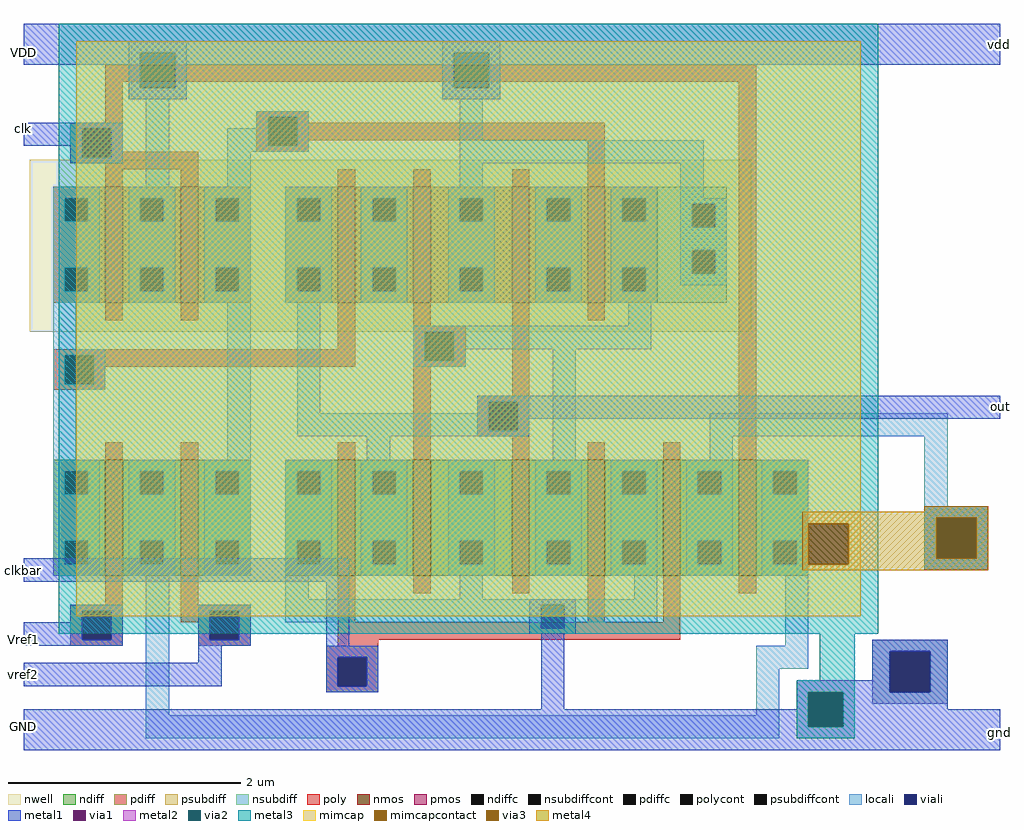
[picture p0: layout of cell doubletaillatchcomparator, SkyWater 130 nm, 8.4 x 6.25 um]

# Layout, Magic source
magic
tech sky130A
<< nwell >>
rect -265 250 356 398
<< nmos >>
rect -200 40 -185 140
rect -135 40 -120 140
rect 0 40 15 140
rect 65 40 80 140
rect 150 40 165 140
rect 215 40 230 140
rect 280 40 295 140
rect 345 40 360 140
<< pmos >>
rect -200 275 -185 375
rect -135 275 -120 375
rect 0 275 15 375
rect 65 275 80 375
rect 150 275 165 375
rect 215 275 230 375
<< ndiff >>
rect -245 130 -200 140
rect -245 110 -235 130
rect -215 110 -200 130
rect -245 70 -200 110
rect -245 50 -235 70
rect -215 50 -200 70
rect -245 40 -200 50
rect -185 130 -135 140
rect -185 110 -170 130
rect -150 110 -135 130
rect -185 70 -135 110
rect -185 50 -170 70
rect -150 50 -135 70
rect -185 40 -135 50
rect -120 130 -75 140
rect -120 110 -105 130
rect -85 110 -75 130
rect -120 70 -75 110
rect -120 50 -105 70
rect -85 50 -75 70
rect -120 40 -75 50
rect -45 130 0 140
rect -45 110 -35 130
rect -15 110 0 130
rect -45 70 0 110
rect -45 50 -35 70
rect -15 50 0 70
rect -45 40 0 50
rect 15 130 65 140
rect 15 110 30 130
rect 50 110 65 130
rect 15 70 65 110
rect 15 50 30 70
rect 50 50 65 70
rect 15 40 65 50
rect 80 130 150 140
rect 80 110 105 130
rect 125 110 150 130
rect 80 70 150 110
rect 80 50 105 70
rect 125 50 150 70
rect 80 40 150 50
rect 165 130 215 140
rect 165 110 180 130
rect 200 110 215 130
rect 165 70 215 110
rect 165 50 180 70
rect 200 50 215 70
rect 165 40 215 50
rect 230 130 280 140
rect 230 110 245 130
rect 265 110 280 130
rect 230 70 280 110
rect 230 50 245 70
rect 265 50 280 70
rect 230 40 280 50
rect 295 130 345 140
rect 295 110 310 130
rect 330 110 345 130
rect 295 70 345 110
rect 295 50 310 70
rect 330 50 345 70
rect 295 40 345 50
rect 360 130 405 140
rect 360 110 375 130
rect 395 110 405 130
rect 360 70 405 110
rect 360 50 375 70
rect 395 50 405 70
rect 360 40 405 50
<< pdiff >>
rect -245 365 -200 375
rect -245 345 -235 365
rect -215 345 -200 365
rect -245 305 -200 345
rect -245 285 -235 305
rect -215 285 -200 305
rect -245 275 -200 285
rect -185 365 -135 375
rect -185 345 -170 365
rect -150 345 -135 365
rect -185 305 -135 345
rect -185 285 -170 305
rect -150 285 -135 305
rect -185 275 -135 285
rect -120 365 -75 375
rect -120 345 -105 365
rect -85 345 -75 365
rect -120 305 -75 345
rect -120 285 -105 305
rect -85 285 -75 305
rect -120 275 -75 285
rect -45 365 0 375
rect -45 345 -35 365
rect -15 345 0 365
rect -45 305 0 345
rect -45 285 -35 305
rect -15 285 0 305
rect -45 275 0 285
rect 15 365 65 375
rect 15 345 30 365
rect 50 345 65 365
rect 15 305 65 345
rect 15 285 30 305
rect 50 285 65 305
rect 15 275 65 285
rect 80 365 150 375
rect 80 345 105 365
rect 125 345 150 365
rect 80 305 150 345
rect 80 285 105 305
rect 125 285 150 305
rect 80 275 150 285
rect 165 365 215 375
rect 165 345 180 365
rect 200 345 215 365
rect 165 305 215 345
rect 165 285 180 305
rect 200 285 215 305
rect 165 275 215 285
rect 230 365 275 375
rect 230 345 245 365
rect 265 345 275 365
rect 230 305 275 345
rect 230 285 245 305
rect 265 285 275 305
rect 230 275 275 285
<< ndiffc >>
rect -235 110 -215 130
rect -235 50 -215 70
rect -170 110 -150 130
rect -170 50 -150 70
rect -105 110 -85 130
rect -105 50 -85 70
rect -35 110 -15 130
rect -35 50 -15 70
rect 30 110 50 130
rect 30 50 50 70
rect 105 110 125 130
rect 105 50 125 70
rect 180 110 200 130
rect 180 50 200 70
rect 245 110 265 130
rect 245 50 265 70
rect 310 110 330 130
rect 310 50 330 70
rect 375 110 395 130
rect 375 50 395 70
<< pdiffc >>
rect -235 345 -215 365
rect -235 285 -215 305
rect -170 345 -150 365
rect -170 285 -150 305
rect -105 345 -85 365
rect -105 285 -85 305
rect -35 345 -15 365
rect -35 285 -15 305
rect 30 345 50 365
rect 30 285 50 305
rect 105 345 125 365
rect 105 285 125 305
rect 180 345 200 365
rect 180 285 200 305
rect 245 345 265 365
rect 245 285 265 305
<< psubdiff >>
rect 460 -25 525 -15
rect 460 -60 475 -25
rect 510 -60 525 -25
rect 460 -70 525 -60
<< nsubdiff >>
rect 275 360 335 375
rect 275 340 305 360
rect 325 340 335 360
rect 275 320 335 340
rect 275 300 305 320
rect 325 300 335 320
rect 275 275 335 300
<< psubdiffcont >>
rect 475 -60 510 -25
<< nsubdiffcont >>
rect 305 340 325 360
rect 305 300 325 320
<< poly >>
rect -200 465 360 480
rect -200 430 -185 465
rect -230 425 -185 430
rect -230 400 -220 425
rect -195 405 -185 425
rect -70 435 -25 440
rect -70 410 -60 435
rect -35 430 -25 435
rect -35 415 230 430
rect -35 410 -25 415
rect -70 405 -25 410
rect -195 400 -120 405
rect -230 395 -120 400
rect -200 390 -120 395
rect -200 375 -185 390
rect -135 375 -120 390
rect 0 375 15 390
rect 65 375 80 390
rect 150 375 165 390
rect 215 375 230 415
rect -200 260 -185 275
rect -135 260 -120 275
rect 0 235 15 275
rect -245 230 15 235
rect -245 205 -235 230
rect -210 220 15 230
rect 65 255 80 275
rect 65 250 110 255
rect 65 225 75 250
rect 100 225 110 250
rect 65 220 110 225
rect -210 205 -200 220
rect -245 200 -200 205
rect -200 140 -185 155
rect -135 140 -120 155
rect 0 140 15 155
rect 65 140 80 220
rect 150 195 165 275
rect 215 260 230 275
rect 120 190 165 195
rect 120 165 130 190
rect 155 165 165 190
rect 120 160 165 165
rect 150 140 165 160
rect 215 140 230 155
rect 280 140 295 155
rect 345 140 360 465
rect -200 15 -185 40
rect -230 10 -185 15
rect -230 -15 -220 10
rect -195 -15 -185 10
rect -135 15 -120 40
rect -135 10 -75 15
rect -135 0 -110 10
rect -230 -20 -185 -15
rect -120 -15 -110 0
rect -85 -15 -75 10
rect -120 -20 -75 -15
rect 0 0 15 40
rect 65 25 80 40
rect 150 25 165 40
rect 215 0 230 40
rect 280 0 295 40
rect 345 25 360 40
rect 0 -15 295 0
rect 0 -20 35 -15
rect -10 -30 35 -20
rect -10 -55 0 -30
rect 25 -55 35 -30
rect -10 -60 35 -55
<< polycont >>
rect -220 400 -195 425
rect -60 410 -35 435
rect -235 205 -210 230
rect 75 225 100 250
rect 130 165 155 190
rect -220 -15 -195 10
rect -110 -15 -85 10
rect 0 -55 25 -30
<< locali >>
rect -180 490 -130 500
rect -180 460 -170 490
rect -140 460 -130 490
rect -180 450 -130 460
rect 90 490 140 500
rect 90 460 100 490
rect 130 460 140 490
rect 90 450 140 460
rect -230 425 -185 430
rect -230 400 -220 425
rect -195 400 -185 425
rect -230 395 -185 400
rect -165 375 -145 450
rect -70 435 -25 440
rect -70 425 -60 435
rect -95 410 -60 425
rect -35 410 -25 435
rect -95 405 -25 410
rect 105 415 125 450
rect -95 375 -75 405
rect 105 395 315 415
rect 105 375 125 395
rect -245 365 -205 375
rect -245 345 -235 365
rect -215 345 -205 365
rect -245 305 -205 345
rect -245 285 -235 305
rect -215 285 -205 305
rect -245 275 -205 285
rect -180 365 -140 375
rect -180 345 -170 365
rect -150 345 -140 365
rect -180 305 -140 345
rect -180 285 -170 305
rect -150 285 -140 305
rect -180 275 -140 285
rect -115 365 -75 375
rect -115 345 -105 365
rect -85 345 -75 365
rect -115 305 -75 345
rect -115 285 -105 305
rect -85 285 -75 305
rect -115 275 -75 285
rect -45 365 -5 375
rect -45 345 -35 365
rect -15 345 -5 365
rect -45 305 -5 345
rect -45 285 -35 305
rect -15 285 -5 305
rect -45 275 -5 285
rect 20 365 60 375
rect 20 345 30 365
rect 50 345 60 365
rect 20 305 60 345
rect 20 285 30 305
rect 50 285 60 305
rect 20 275 60 285
rect 95 365 135 375
rect 95 345 105 365
rect 125 345 135 365
rect 95 305 135 345
rect 95 285 105 305
rect 125 285 135 305
rect 95 275 135 285
rect 170 365 210 375
rect 170 345 180 365
rect 200 345 210 365
rect 170 305 210 345
rect 170 285 180 305
rect 200 285 210 305
rect 170 275 210 285
rect 235 365 275 375
rect 235 345 245 365
rect 265 345 275 365
rect 235 305 275 345
rect 235 285 245 305
rect 265 285 275 305
rect 295 365 315 395
rect 295 360 335 365
rect 295 340 305 360
rect 325 340 335 360
rect 295 320 335 340
rect 295 300 305 320
rect 325 300 335 320
rect 295 290 335 300
rect 235 275 275 285
rect -245 235 -225 275
rect -245 230 -200 235
rect -245 205 -235 230
rect -210 205 -200 230
rect -245 200 -200 205
rect -245 140 -225 200
rect -95 140 -75 275
rect -35 180 -15 275
rect 250 255 270 275
rect 65 250 270 255
rect 65 225 75 250
rect 100 235 270 250
rect 100 225 110 235
rect 65 220 110 225
rect 120 190 165 195
rect 120 180 130 190
rect -35 165 130 180
rect 155 165 165 190
rect -35 160 165 165
rect 25 140 45 160
rect 185 140 205 235
rect 320 160 525 180
rect 320 140 340 160
rect -245 130 -205 140
rect -245 110 -235 130
rect -215 110 -205 130
rect -245 70 -205 110
rect -245 50 -235 70
rect -215 50 -205 70
rect -245 40 -205 50
rect -180 130 -140 140
rect -180 110 -170 130
rect -150 110 -140 130
rect -180 70 -140 110
rect -180 50 -170 70
rect -150 50 -140 70
rect -180 40 -140 50
rect -115 130 -75 140
rect -115 110 -105 130
rect -85 110 -75 130
rect -115 70 -75 110
rect -115 50 -105 70
rect -85 50 -75 70
rect -115 40 -75 50
rect -45 130 -5 140
rect -45 110 -35 130
rect -15 110 -5 130
rect -45 70 -5 110
rect -45 50 -35 70
rect -15 50 -5 70
rect -45 40 -5 50
rect 20 130 60 140
rect 20 110 30 130
rect 50 110 60 130
rect 20 70 60 110
rect 20 50 30 70
rect 50 50 60 70
rect 20 40 60 50
rect 95 130 135 140
rect 95 110 105 130
rect 125 110 135 130
rect 95 70 135 110
rect 95 50 105 70
rect 125 50 135 70
rect 95 40 135 50
rect 170 130 210 140
rect 170 110 180 130
rect 200 110 210 130
rect 170 70 210 110
rect 170 50 180 70
rect 200 50 210 70
rect 170 40 210 50
rect 235 130 275 140
rect 235 110 245 130
rect 265 110 275 130
rect 235 70 275 110
rect 235 50 245 70
rect 265 50 275 70
rect 235 40 275 50
rect 300 130 340 140
rect 300 110 310 130
rect 330 110 340 130
rect 300 70 340 110
rect 300 50 310 70
rect 330 50 340 70
rect 300 40 340 50
rect 365 130 405 140
rect 365 110 375 130
rect 395 110 405 130
rect 365 70 405 110
rect 365 50 375 70
rect 395 50 405 70
rect 365 40 405 50
rect 505 100 525 160
rect 505 90 560 100
rect 505 55 515 90
rect 550 55 560 90
rect 505 45 560 55
rect -230 10 -185 15
rect -230 -15 -220 10
rect -195 -15 -185 10
rect -230 -20 -185 -15
rect -165 -80 -145 40
rect -45 20 -25 40
rect 105 20 125 40
rect 255 20 275 40
rect -45 15 275 20
rect -120 10 -75 15
rect -120 -15 -110 10
rect -85 -15 -75 10
rect -45 0 175 15
rect 165 -5 175 0
rect 195 0 275 15
rect 195 -5 205 0
rect 165 -10 205 -5
rect -120 -20 -75 -15
rect 385 -20 405 40
rect -10 -30 35 -20
rect -10 -55 0 -30
rect 25 -55 35 -30
rect -10 -60 35 -55
rect 360 -40 405 -20
rect 460 -25 525 -15
rect 360 -80 380 -40
rect 460 -60 475 -25
rect 510 -60 525 -25
rect -165 -100 380 -80
rect 460 -70 525 -60
<< viali >>
rect -170 460 -140 490
rect 100 460 130 490
rect -220 400 -195 425
rect 130 165 155 190
rect 515 55 550 90
rect -220 -15 -195 10
rect -110 -15 -85 10
rect 175 -5 195 15
rect 0 -55 25 -30
rect 475 -60 510 -25
rect 405 -90 435 -60
<< metal1 >>
rect -270 490 570 515
rect -270 480 -170 490
rect -180 460 -170 480
rect -140 480 100 490
rect -140 460 -130 480
rect -180 450 -130 460
rect 90 460 100 480
rect 130 480 570 490
rect 130 460 140 480
rect 90 450 140 460
rect -270 425 -185 430
rect -270 410 -220 425
rect -230 400 -220 410
rect -195 400 -185 425
rect -230 395 -185 400
rect 120 190 570 195
rect 120 165 130 190
rect 155 175 570 190
rect 155 165 165 175
rect 120 160 165 165
rect 505 90 560 100
rect 505 55 515 90
rect 550 55 560 90
rect -270 35 10 55
rect 505 45 560 55
rect -230 10 -185 15
rect -230 0 -220 10
rect -270 -15 -220 0
rect -195 -15 -185 10
rect -270 -20 -185 -15
rect -120 10 -75 15
rect -120 -15 -110 10
rect -85 -15 -75 10
rect -120 -20 -75 -15
rect -10 -20 10 35
rect 165 15 205 20
rect 165 -5 175 15
rect 195 -5 205 15
rect 165 -10 205 -5
rect -120 -35 -100 -20
rect -270 -55 -100 -35
rect -10 -30 35 -20
rect -10 -55 0 -30
rect 25 -55 35 -30
rect -10 -60 35 -55
rect 175 -75 195 -10
rect 460 -25 525 -15
rect 460 -50 475 -25
rect 395 -60 475 -50
rect 510 -60 525 -25
rect 395 -75 405 -60
rect -270 -90 405 -75
rect 435 -75 525 -60
rect 435 -90 570 -75
rect -270 -110 570 -90
<< via1 >>
rect 515 55 550 90
rect 405 -90 435 -60
<< metal2 >>
rect 505 90 560 100
rect 505 55 515 90
rect 550 55 560 90
rect 505 45 560 55
rect 395 -60 445 -50
rect 395 -90 405 -60
rect 435 -90 445 -60
rect 395 -100 445 -90
<< via2 >>
rect 515 55 550 90
rect 405 -90 435 -60
<< metal3 >>
rect -240 -10 465 515
rect 505 90 560 100
rect 505 55 515 90
rect 550 55 560 90
rect 505 45 560 55
rect 415 -50 445 -10
rect 395 -60 445 -50
rect 395 -90 405 -60
rect 435 -90 445 -60
rect 395 -100 445 -90
<< via3 >>
rect 515 55 550 90
<< mimcap >>
rect -225 85 450 500
rect -225 50 405 85
rect 440 50 450 85
rect -225 5 450 50
<< mimcapcontact >>
rect 405 50 440 85
<< metal4 >>
rect 505 95 560 100
rect 400 90 560 95
rect 400 85 515 90
rect 400 50 405 85
rect 440 55 515 85
rect 550 55 560 90
rect 440 50 560 55
rect 400 45 560 50
<< labels >>
rlabel metal1 -270 -15 -270 -15 7 Vref1
rlabel metal1 -270 425 -270 425 7 clk
rlabel metal1 -270 -90 -270 -90 7 GND
rlabel metal1 -270 490 -270 490 7 VDD
rlabel metal1 -270 45 -270 45 7 clkbar
rlabel metal1 -270 -45 -270 -45 7 vref2
rlabel metal1 569 -95 570 -95 3 gnd
rlabel metal1 569 497 570 497 3 vdd
rlabel metal1 570 186 570 186 3 out
<< end >>
